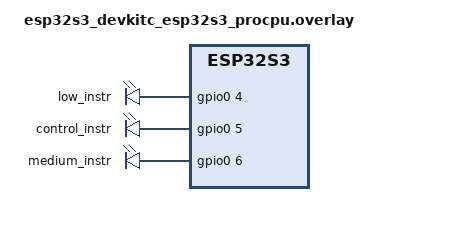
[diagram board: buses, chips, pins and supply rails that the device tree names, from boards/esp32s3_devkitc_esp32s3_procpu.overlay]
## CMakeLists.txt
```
cmake_minimum_required(VERSION 3.20.0)
find_package(Zephyr REQUIRED HINTS $ENV{ZEPHYR_BASE})
project(week06_inversion)

target_sources(app PRIVATE src/main.c)
```

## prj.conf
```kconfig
CONFIG_GPIO=y
CONFIG_SERIAL=y
CONFIG_CONSOLE=y
CONFIG_UART_CONSOLE=y
CONFIG_MAIN_STACK_SIZE=2048
CONFIG_THREAD_NAME=y
```

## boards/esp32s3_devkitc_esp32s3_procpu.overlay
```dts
#include <zephyr/dt-bindings/gpio/gpio.h>

/ {
	week06_instr {
		compatible = "gpio-leds";
		low_instr: low_instr { gpios = <&gpio0 4 GPIO_ACTIVE_HIGH>; };
		control_instr: control_instr { gpios = <&gpio0 5 GPIO_ACTIVE_HIGH>; };
		medium_instr: medium_instr { gpios = <&gpio0 6 GPIO_ACTIVE_HIGH>; };
	};
};
```

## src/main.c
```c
#include <zephyr/device.h>
#include <zephyr/devicetree.h>
#include <zephyr/drivers/gpio.h>
#include <zephyr/drivers/uart.h>
#include <zephyr/kernel.h>
#include <zephyr/sys/printk.h>

#define LOW_PRIORITY       7
#define MEDIUM_PRIORITY    4
#define CONTROL_PRIORITY   2
#define TASK_STACK_SIZE    2048
#define LOW_WORK_US        30000U
#define MEDIUM_WORK_US     25000U
#define CONTROL_WORK_US    1000U

static const struct gpio_dt_spec low_pin =
	GPIO_DT_SPEC_GET(DT_NODELABEL(low_instr), gpios);
static const struct gpio_dt_spec control_pin =
	GPIO_DT_SPEC_GET(DT_NODELABEL(control_instr), gpios);
static const struct gpio_dt_spec medium_pin =
	GPIO_DT_SPEC_GET(DT_NODELABEL(medium_instr), gpios);
static const struct device *const console_uart =
	DEVICE_DT_GET(DT_CHOSEN(zephyr_console));

static void release_control(struct k_timer *timer);
static void release_medium(struct k_timer *timer);

K_SEM_DEFINE(start_low, 0, 1);
K_SEM_DEFINE(start_control, 0, 1);
K_SEM_DEFINE(start_medium, 0, 1);
K_SEM_DEFINE(low_done, 0, 1);
K_SEM_DEFINE(control_done, 0, 1);
K_SEM_DEFINE(medium_done, 0, 1);

K_SEM_DEFINE(binary_lock, 1, 1);
K_MUTEX_DEFINE(pi_lock);
K_TIMER_DEFINE(control_release_timer, release_control, NULL);
K_TIMER_DEFINE(medium_release_timer, release_medium, NULL);

static bool use_mutex;
static uint32_t iterations_per_us;

static void release_control(struct k_timer *timer)
{
	ARG_UNUSED(timer);
	k_sem_give(&start_control);
}

static void release_medium(struct k_timer *timer)
{
	ARG_UNUSED(timer);
	k_sem_give(&start_medium);
}

static void spin(uint32_t iterations)
{
	for (volatile uint32_t i = 0; i < iterations; i++) {
	}
}

/* Calibrate a CPU loop so preemption extends its wall-clock duration. */
static void calibrate_work(void)
{
	const uint32_t iterations = 200000U;
	uint64_t best_ns = UINT64_MAX;

	for (int trial = 0; trial < 5; trial++) {
		uint32_t start = k_cycle_get_32();

		spin(iterations);
		uint64_t elapsed_ns =
			k_cyc_to_ns_floor64(k_cycle_get_32() - start);

		if (elapsed_ns < best_ns) {
			best_ns = elapsed_ns;
		}
	}

	iterations_per_us = (uint32_t)(((uint64_t)iterations * 1000U) /
					 best_ns);
}

static void work_us(uint32_t duration_us)
{
	uint64_t iterations = (uint64_t)iterations_per_us * duration_us;

	spin((uint32_t)iterations);
}

static void lock_take(void)
{
	if (use_mutex) {
		k_mutex_lock(&pi_lock, K_FOREVER);
	} else {
		k_sem_take(&binary_lock, K_FOREVER);
	}
}

static void lock_give(void)
{
	if (use_mutex) {
		k_mutex_unlock(&pi_lock);
	} else {
		k_sem_give(&binary_lock);
	}
}

static void low_thread(void *p1, void *p2, void *p3)
{
	ARG_UNUSED(p1);
	ARG_UNUSED(p2);
	ARG_UNUSED(p3);

	while (true) {
		k_sem_take(&start_low, K_FOREVER);
		lock_take();
		gpio_pin_set_dt(&low_pin, 1);
		/* Release high and medium while low is doing CPU work in the
		 * critical section. High blocks on the lock; medium then preempts low
		 * with a semaphore, while a mutex boosts low ahead of medium.
		 */
		k_timer_start(&control_release_timer, K_MSEC(2), K_NO_WAIT);
		k_timer_start(&medium_release_timer, K_MSEC(3), K_NO_WAIT);
		work_us(LOW_WORK_US);
		gpio_pin_set_dt(&low_pin, 0);
		lock_give();
		k_sem_give(&low_done);
	}
}

static void control_thread(void *p1, void *p2, void *p3)
{
	ARG_UNUSED(p1);
	ARG_UNUSED(p2);
	ARG_UNUSED(p3);

	while (true) {
		k_sem_take(&start_control, K_FOREVER);
		gpio_pin_set_dt(&control_pin, 1);
		lock_take();
		work_us(CONTROL_WORK_US);
		lock_give();
		gpio_pin_set_dt(&control_pin, 0);
		k_sem_give(&control_done);
	}
}

static void medium_thread(void *p1, void *p2, void *p3)
{
	ARG_UNUSED(p1);
	ARG_UNUSED(p2);
	ARG_UNUSED(p3);

	while (true) {
		k_sem_take(&start_medium, K_FOREVER);
		gpio_pin_set_dt(&medium_pin, 1);
		work_us(MEDIUM_WORK_US);
		gpio_pin_set_dt(&medium_pin, 0);
		k_sem_give(&medium_done);
	}
}

K_THREAD_DEFINE(low_tid, TASK_STACK_SIZE, low_thread, NULL, NULL, NULL,
		LOW_PRIORITY, 0, 0);
K_THREAD_DEFINE(medium_tid, TASK_STACK_SIZE, medium_thread, NULL, NULL, NULL,
		MEDIUM_PRIORITY, 0, 0);
K_THREAD_DEFINE(control_tid, TASK_STACK_SIZE, control_thread, NULL, NULL, NULL,
		CONTROL_PRIORITY, 0, 0);

static void run_baseline(void)
{
	use_mutex = false;
	k_sem_give(&start_control);
	k_sem_take(&control_done, K_FOREVER);
	printk("BASELINE complete: semaphore free; GPIO5 marks control response (~1 ms).\n");
}

static void run_contention(bool mutex)
{
	use_mutex = mutex;
	k_sem_give(&start_low);
	k_sem_take(&control_done, K_FOREVER);
	k_sem_take(&low_done, K_FOREVER);
	k_sem_take(&medium_done, K_FOREVER);

	printk("%s complete: GPIO5 is control response; GPIO4 is low critical section B; GPIO6 is medium work.\n",
	       mutex ? "MUTEX-PI" : "SEMAPHORE-INVERSION");
}

int main(void)
{
	if (!gpio_is_ready_dt(&low_pin) || !gpio_is_ready_dt(&control_pin) ||
	    !gpio_is_ready_dt(&medium_pin) ||
	    !device_is_ready(console_uart)) {
		printk("ERROR: GPIO or console UART not ready\n");
		return 0;
	}

	gpio_pin_configure_dt(&low_pin, GPIO_OUTPUT_INACTIVE);
	gpio_pin_configure_dt(&control_pin, GPIO_OUTPUT_INACTIVE);
	gpio_pin_configure_dt(&medium_pin, GPIO_OUTPUT_INACTIVE);
	calibrate_work();
	printk("Week 6 Task B ready; calibrated %u loop iterations/us.\n",
	       iterations_per_us);
	printk("GPIO4=low, GPIO5=control, GPIO6=medium. Type b=baseline, s=semaphore inversion, m=mutex PI.\n");

	/* Keep the command-polling main thread below all three experiment threads. */
	k_thread_priority_set(k_current_get(), 10);
	while (true) {
		unsigned char ch;

		if (uart_poll_in(console_uart, &ch) == 0) {
			if (ch == 'b' || ch == 'B') {
				run_baseline();
			} else if (ch == 's' || ch == 'S') {
				run_contention(false);
			} else if (ch == 'm' || ch == 'M') {
				run_contention(true);
			} else if (ch != '\r' && ch != '\n') {
				printk("Type b, s, or m.\n");
			}
		}
		k_msleep(5);
	}
	return 0;
}
```
